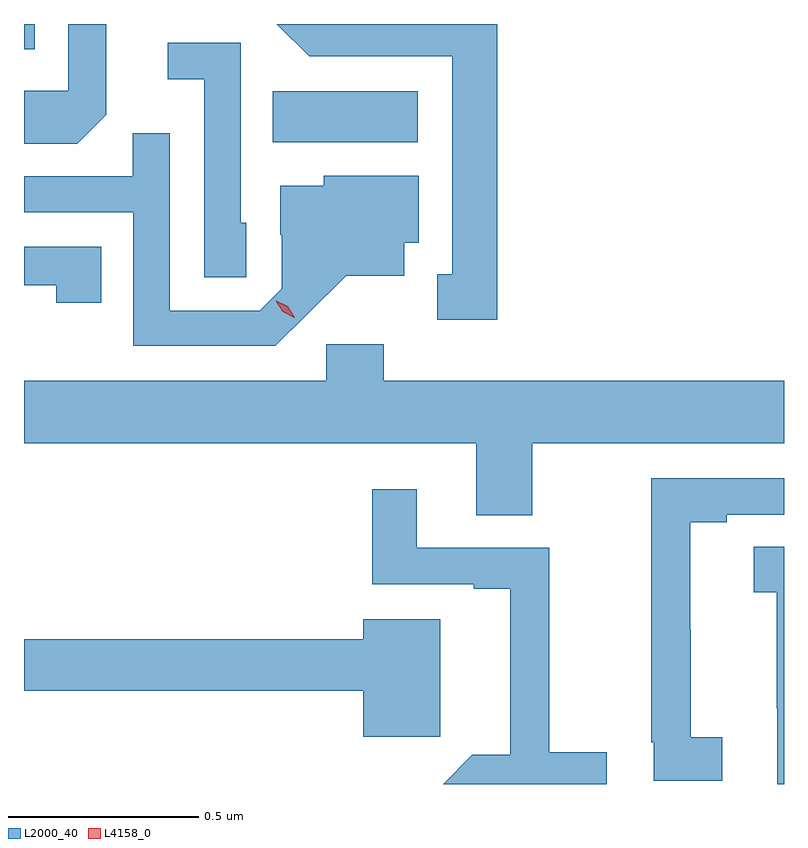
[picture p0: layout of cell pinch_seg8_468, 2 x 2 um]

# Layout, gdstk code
import gdstk
lib = gdstk.Library(unit=1e-6, precision=1e-09)
def R(c, l, rs):  # rectangles x0, y0, x1, y1
    for r in rs: c.add(gdstk.rectangle(r[:2], r[2:], *l))
def P(c, l, *ps):  # polygons
    for p in ps: c.add(gdstk.Polygon(p, *l))
L2000_40 = (2000, 40)
L4158_0 = (4158, 0)

pinch_seg8_468 = lib.new_cell('pinch_seg8_468')
R(pinch_seg8_468, L2000_40, [(231.274,1141.268,231.655,1141.402), (230.619,1141.512,230.647,1141.579)])
P(pinch_seg8_468, L2000_40, [(230.835,1141.34),(230.835,1141.579),(230.736,1141.579),(230.736,1141.404),(230.619,1141.404),(230.619,1141.264),(230.759,1141.264)],
  [(231.865,1141.579),(231.284,1141.579),(231.369,1141.494),(231.746,1141.494),(231.746,1140.921),(231.707,1140.921),(231.707,1140.801),(231.865,1140.801)],
  [(231.204,1141.056),(231.189,1141.056),(231.189,1141.53),(230.997,1141.53),(230.997,1141.433),(231.093,1141.433),(231.093,1140.913),(231.204,1140.913)],
  [(231.364,1140.815),(231.467,1140.917),(231.619,1140.917),(231.619,1141.004),(231.658,1141.004),(231.658,1141.18),(231.408,1141.18),(231.408,1141.153),(231.293,1141.153),(231.293,1141.024),(231.297,1141.024),(231.297,1140.882),(231.24,1140.825),(231.003,1140.825),(231.003,1141.292),(230.905,1141.292),(230.905,1141.179),(230.619,1141.179),(230.619,1141.083),(230.907,1141.083),(230.907,1140.732),(231.28,1140.732)],
  [(230.822,1140.993),(230.619,1140.993),(230.619,1140.892),(230.704,1140.892),(230.704,1140.846),(230.822,1140.846)],
  [(231.957,1140.476),(232.619,1140.476),(232.619,1140.64),(231.566,1140.64),(231.566,1140.736),(231.414,1140.736),(231.414,1140.64),(230.619,1140.64),(230.619,1140.476),(231.809,1140.476),(231.809,1140.286),(231.957,1140.286)],
  [(232.456,1139.702),(232.374,1139.702),(232.374,1139.985),(232.372,1139.985),(232.372,1140.268),(232.468,1140.268),(232.468,1140.288),(232.619,1140.288),(232.619,1140.384),(232.27,1140.384),(232.27,1139.689),(232.276,1139.689),(232.276,1139.587),(232.456,1139.587)],
  [(232.152,1139.663),(232.001,1139.663),(232.001,1140.201),(231.652,1140.201),(231.652,1140.355),(231.535,1140.355),(231.535,1140.105),(231.803,1140.105),(231.803,1140.093),(231.899,1140.093),(231.899,1139.656),(231.799,1139.656),(231.722,1139.579),(232.152,1139.579)],
  [(232.619,1140.203),(232.539,1140.203),(232.539,1140.083),(232.6,1140.083),(232.6,1139.779),(232.601,1139.779),(232.601,1139.579),(232.619,1139.579)],
  [(231.715,1140.013),(231.512,1140.013),(231.512,1139.96),(230.619,1139.96),(230.619,1139.824),(231.512,1139.824),(231.512,1139.703),(231.715,1139.703)])
P(pinch_seg8_468, L4158_0, [(231.33,1140.806),(231.3,1140.822),(231.282,1140.851),(231.282,1140.851),(231.283,1140.851),(231.313,1140.836),(231.331,1140.806),(231.331,1140.806)])

lib.write_gds('pinch_seg8_468.gds')
